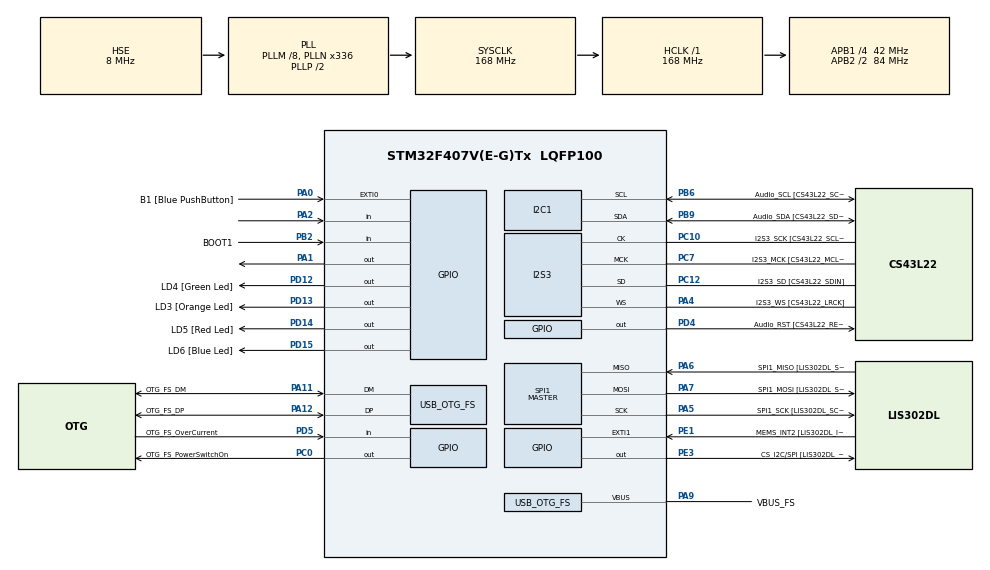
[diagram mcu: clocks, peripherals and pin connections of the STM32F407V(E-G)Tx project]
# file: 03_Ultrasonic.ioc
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I2S3.AudioFreq-Half_Duplex_Master=I2S_AUDIOFREQ_96K
I2S3.ErrorAudioFreq=-2.34 %
I2S3.ErrorAudioFreq-Half_Duplex_Master=0.8 %
I2S3.FullDuplexMode=I2S_FULLDUPLEXMODE_DISABLE
I2S3.Instance=SPI$Index
I2S3.RealAudioFreq=93.75 KHz
I2S3.RealAudioFreq-Half_Duplex_Master=96.774 KHz
I2S3.VirtualMode=I2S_MODE_MASTER
Mcu.Family=STM32F4
Mcu.Name=STM32F407V(E-G)Tx
Mcu.Package=LQFP100
NVIC.OTG_FS_IRQn=true\:0\:0\:false\:false\:true\:true\:true\:true
NVIC.PriorityGroup=NVIC_PRIORITYGROUP_0
PA0-WKUP.GPIO_Label=B1 [Blue PushButton]
PA0-WKUP.GPIO_ModeDefaultEXTI=GPIO_MODE_EVT_RISING
PA0-WKUP.GPIO_PuPd=GPIO_NOPULL
PA0-WKUP.Signal=GPXTI0
PA1.Signal=GPIO_Output
PA10.GPIO_Label=OTG_FS_ID
PA10.GPIO_Mode=GPIO_MODE_AF_PP
PA10.GPIO_PuPd=GPIO_NOPULL
PA10.GPIO_Speed=GPIO_SPEED_FREQ_LOW
PA10.Signal=USB_OTG_FS_ID
PA11.GPIO_Label=OTG_FS_DM
PA11.GPIO_Mode=GPIO_MODE_AF_PP
PA11.GPIO_PuPd=GPIO_NOPULL
PA11.GPIO_Speed=GPIO_SPEED_FREQ_LOW
PA11.Mode=Host_Only
PA11.Signal=USB_OTG_FS_DM
PA12.GPIO_Label=OTG_FS_DP
PA12.GPIO_Mode=GPIO_MODE_AF_PP
PA12.GPIO_PuPd=GPIO_NOPULL
PA12.GPIO_Speed=GPIO_SPEED_FREQ_LOW
PA12.Mode=Host_Only
PA12.Signal=USB_OTG_FS_DP
PA13.GPIO_Label=SWDIO
PA13.Mode=Serial_Wire
PA13.Signal=SYS_JTMS-SWDIO
PA14.GPIO_Label=SWCLK
PA14.Mode=Serial_Wire
PA14.Signal=SYS_JTCK-SWCLK
PA2.Signal=GPIO_Input
PA4.GPIO_Label=I2S3_WS [CS43L22_LRCK]
PA4.GPIO_Mode=GPIO_MODE_AF_PP
PA4.GPIO_PuPd=GPIO_NOPULL
PA4.GPIO_Speed=GPIO_SPEED_FREQ_LOW
PA4.Mode=Half_Duplex_Master
PA4.Signal=I2S3_WS
PA5.GPIO_Label=SPI1_SCK [LIS302DL_SCL/SPC]
PA5.GPIO_Mode=GPIO_MODE_AF_PP
PA5.GPIO_PuPd=GPIO_NOPULL
PA5.GPIO_Speed=GPIO_SPEED_FREQ_LOW
PA5.Mode=Full_Duplex_Master
PA5.Signal=SPI1_SCK
PA6.GPIO_Label=SPI1_MISO [LIS302DL_SDO]
PA6.GPIO_Mode=GPIO_MODE_AF_PP
PA6.GPIO_PuPd=GPIO_NOPULL
PA6.GPIO_Speed=GPIO_SPEED_FREQ_LOW
PA6.Mode=Full_Duplex_Master
PA6.Signal=SPI1_MISO
PA7.GPIO_Label=SPI1_MOSI [LIS302DL_SDA/SDI/SDO]
PA7.GPIO_Mode=GPIO_MODE_AF_PP
PA7.GPIO_PuPd=GPIO_NOPULL
PA7.GPIO_Speed=GPIO_SPEED_FREQ_LOW
PA7.Mode=Full_Duplex_Master
PA7.Signal=SPI1_MOSI
PA9.GPIO_Label=VBUS_FS
PA9.GPIO_Mode=GPIO_MODE_INPUT
PA9.GPIO_PuPd=GPIO_NOPULL
PA9.Mode=Activate_VBUS
PA9.Signal=USB_OTG_FS_VBUS
PB10.GPIO_Label=CLK_IN [MP45DT02_CLK]
PB10.GPIO_Mode=GPIO_MODE_AF_PP
PB10.GPIO_PuPd=GPIO_NOPULL
PB10.GPIO_Speed=GPIO_SPEED_FREQ_LOW
PB10.Signal=I2S2_CK
PB2.GPIO_Label=BOOT1
PB2.GPIO_Mode=GPIO_MODE_INPUT
PB2.GPIO_PuPd=GPIO_NOPULL
PB2.Signal=GPIO_Input
PB3.GPIO_Label=SWO
PB3.Signal=SYS_JTDO-SWO
PB6.GPIO_Label=Audio_SCL [CS43L22_SCL]
PB6.GPIO_Mode=GPIO_MODE_AF_OD
PB6.GPIO_Pu=GPIO_PULLUP
PB6.GPIO_PuPd=GPIO_NOPULL
PB6.GPIO_Speed=GPIO_SPEED_FREQ_LOW
PB6.Mode=I2C
PB6.Signal=I2C1_SCL
PB9.GPIO_Label=Audio_SDA [CS43L22_SDA]
PB9.GPIO_Mode=GPIO_MODE_AF_OD
PB9.GPIO_Pu=GPIO_PULLUP
PB9.GPIO_PuPd=GPIO_NOPULL
PB9.GPIO_Speed=GPIO_SPEED_FREQ_LOW
PB9.Mode=I2C
PB9.Signal=I2C1_SDA
PC0.GPIO_Label=OTG_FS_PowerSwitchOn
PC0.GPIO_PuPd=GPIO_NOPULL
PC0.GPIO_Speed=GPIO_SPEED_FREQ_LOW
PC0.PinState=GPIO_PIN_SET
PC0.Signal=GPIO_Output
PC10.GPIO_Label=I2S3_SCK [CS43L22_SCLK]
PC10.GPIO_Mode=GPIO_MODE_AF_PP
PC10.GPIO_PuPd=GPIO_NOPULL
PC10.GPIO_Speed=GPIO_SPEED_FREQ_LOW
PC10.Mode=Half_Duplex_Master
PC10.Signal=I2S3_CK
PC12.GPIO_Label=I2S3_SD [CS43L22_SDIN]
PC12.GPIO_Mode=GPIO_MODE_AF_PP
PC12.GPIO_PuPd=GPIO_NOPULL
PC12.GPIO_Speed=GPIO_SPEED_FREQ_LOW
PC12.Mode=Half_Duplex_Master
PC12.Signal=I2S3_SD
PC14-OSC32_IN.GPIO_Label=PC14-OSC32_IN
PC14-OSC32_IN.Mode=LSE-External-Oscillator
PC14-OSC32_IN.Signal=RCC_OSC32_IN
PC15-OSC32_OUT.GPIO_Label=PC15-OSC32_OUT
PC15-OSC32_OUT.Mode=LSE-External-Oscillator
PC15-OSC32_OUT.Signal=RCC_OSC32_OUT
PC3.GPIO_Label=PDM_OUT [MP45DT02_DOUT]
PC3.GPIO_Mode=GPIO_MODE_AF_PP
PC3.GPIO_PuPd=GPIO_NOPULL
PC3.GPIO_Speed=GPIO_SPEED_FREQ_LOW
PC3.Signal=I2S2_SD
PC7.GPIO_Label=I2S3_MCK [CS43L22_MCLK]
PC7.GPIO_Mode=GPIO_MODE_AF_PP
PC7.GPIO_PuPd=GPIO_NOPULL
PC7.GPIO_Speed=GPIO_SPEED_FREQ_LOW
PC7.Mode=Master_Clock_Activated
PC7.Signal=I2S3_MCK
PD12.GPIO_Label=LD4 [Green Led]
PD12.GPIO_PuPd=GPIO_NOPULL
PD12.GPIO_Speed=GPIO_SPEED_FREQ_LOW
PD12.Signal=GPIO_Output
PD13.GPIO_Label=LD3 [Orange Led]
PD13.GPIO_PuPd=GPIO_NOPULL
PD13.GPIO_Speed=GPIO_SPEED_FREQ_LOW
PD13.Signal=GPIO_Output
PD14.GPIO_Label=LD5 [Red Led]
PD14.GPIO_PuPd=GPIO_NOPULL
PD14.GPIO_Speed=GPIO_SPEED_FREQ_LOW
PD14.Signal=GPIO_Output
PD15.GPIO_Label=LD6 [Blue Led]
PD15.GPIO_PuPd=GPIO_NOPULL
PD15.GPIO_Speed=GPIO_SPEED_FREQ_LOW
PD15.Signal=GPIO_Output
PD4.GPIO_Label=Audio_RST [CS43L22_RESET]
PD4.GPIO_PuPd=GPIO_NOPULL
PD4.GPIO_Speed=GPIO_SPEED_FREQ_LOW
PD4.Signal=GPIO_Output
PD5.GPIO_Label=OTG_FS_OverCurrent
PD5.GPIO_Mode=GPIO_MODE_INPUT
PD5.GPIO_PuPd=GPIO_NOPULL
PD5.Signal=GPIO_Input
PE1.GPIO_Label=MEMS_INT2 [LIS302DL_INT2]
PE1.GPIO_ModeDefaultEXTI=GPIO_MODE_EVT_RISING
PE1.GPIO_PuPd=GPIO_NOPULL
PE1.Signal=GPXTI1
PE3.GPIO_Label=CS_I2C/SPI [LIS302DL_CS_I2C/SPI]
PE3.GPIO_PuPd=GPIO_NOPULL
PE3.GPIO_Speed=GPIO_SPEED_FREQ_LOW
PE3.Signal=GPIO_Output
PH0-OSC_IN.GPIO_Label=PH0-OSC_IN
PH0-OSC_IN.Mode=HSE-External-Oscillator
PH0-OSC_IN.Signal=RCC_OSC_IN
PH1-OSC_OUT.GPIO_Label=PH1-OSC_OUT
PH1-OSC_OUT.Mode=HSE-External-Oscillator
PH1-OSC_OUT.Signal=RCC_OSC_OUT
ProjectManager.HeapSize=0x200
ProjectManager.StackSize=0x400
ProjectManager.TargetToolchain=STM32CubeIDE
RCC.48MHZClocksFreq_Value=48000000
RCC.AHBFreq_Value=168000000
RCC.APB1CLKDivider=RCC_HCLK_DIV4
RCC.APB1Freq_Value=42000000
RCC.APB1TimFreq_Value=84000000
RCC.APB2CLKDivider=RCC_HCLK_DIV2
RCC.APB2Freq_Value=84000000
RCC.APB2TimFreq_Value=168000000
RCC.CortexFreq_Value=168000000
RCC.HCLKFreq_Value=168000000
RCC.HSE_VALUE=8000000
RCC.HSI_VALUE=16000000
RCC.PLLM=8
RCC.PLLN=336
RCC.PLLQ=7
RCC.SYSCLKFreq_VALUE=168000000
RCC.SYSCLKSource=RCC_SYSCLKSOURCE_PLLCLK
RCC.VCOOutputFreq_Value=336000000
SPI1.BaudRatePrescaler-Full_Duplex_Master=SPI_BAUDRATEPRESCALER_2
SPI1.CalculateBaudRate-Full_Duplex_Master=42.0 MBits/s
SPI1.Direction=SPI_DIRECTION_2LINES
SPI1.Mode=SPI_MODE_MASTER
SPI1.Mode-Full_Duplex_Master=SPI_MODE_MASTER
SPI1.VirtualType=VM_MASTER
TIM2.Prescaler=83
USB_HOST.BSP.number=1
USB_HOST.USBH_HandleTypeDef-CDC_FS=hUsbHostFS
USB_HOST.VirtualModeFS=Cdc
USB_HOST0.BSP.STBoard=false
USB_HOST0.BSP.api=Unknown
USB_HOST0.BSP.instance=PC0
USB_HOST0.BSP.ip=GPIO
USB_HOST0.BSP.mode=Output
USB_HOST0.BSP.name=Drive_VBUS_FS
USB_HOST0.BSP.solution=PC0
USB_OTG_FS.VirtualMode=Host_Only
USB_OTG_FS.phy_itface=HCD_PHY_EMBEDDED
VP_TIM2_VS_ClockSourceINT.Mode=Internal
VP_USB_HOST_VS_USB_HOST_CDC_FS.Mode=CDC_FS
board=STM32F407G-DISC1

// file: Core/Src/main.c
/* USER CODE BEGIN Header */
/**
  ******************************************************************************
  * @file           : main.c
  * @brief          : Main program body
  ******************************************************************************
  * @attention
  *
  * Copyright (c) 2026 STMicroelectronics.
  * All rights reserved.
  *
  * This software is licensed under terms that can be found in the LICENSE file
  * in the root directory of this software component.
  * If no LICENSE file comes with this software, it is provided AS-IS.
  *
  ******************************************************************************
  */
/* USER CODE END Header */
#include "main.h"
#include "usb_host.h"

I2C_HandleTypeDef hi2c1;

I2S_HandleTypeDef hi2s3;

SPI_HandleTypeDef hspi1;

TIM_HandleTypeDef htim2;

/* USER CODE BEGIN PV */
uint32_t distance = 0;
uint32_t time = 0;
/* USER CODE END PV */

void SystemClock_Config(void);
static void MX_GPIO_Init(void);
static void MX_I2C1_Init(void);
static void MX_I2S3_Init(void);
static void MX_SPI1_Init(void);
static void MX_TIM2_Init(void);
void MX_USB_HOST_Process(void);

/* USER CODE BEGIN 0 */
void delay_us(uint16_t us)
{
    __HAL_TIM_SET_COUNTER(&htim2, 0);

    while (__HAL_TIM_GET_COUNTER(&htim2) < us);
}
/* USER CODE END 0 */

int main(void)
{

  /* MCU Configuration--------------------------------------------------------*/

  /* Reset of all peripherals, Initializes the Flash interface and the Systick. */
  HAL_Init();

  /* Configure the system clock */
  SystemClock_Config();

  /* Initialize all configured peripherals */
  MX_GPIO_Init();
  MX_I2C1_Init();
  MX_I2S3_Init();
  MX_SPI1_Init();
  MX_USB_HOST_Init();
  MX_TIM2_Init();
  /* USER CODE BEGIN 2 */
  HAL_TIM_Base_Start(&htim2);
  /* USER CODE END 2 */

  /* Infinite loop */
  /* USER CODE BEGIN WHILE */
  while (1)
  {
	      uint32_t start = 0;
	      uint32_t stop = 0;

	      HAL_GPIO_WritePin(GPIOA, GPIO_PIN_1, GPIO_PIN_RESET);
	      delay_us(2);

	      HAL_GPIO_WritePin(GPIOA, GPIO_PIN_1, GPIO_PIN_SET);
	      delay_us(10);

	      HAL_GPIO_WritePin(GPIOA, GPIO_PIN_1, GPIO_PIN_RESET);

	      while (!(HAL_GPIO_ReadPin(GPIOA, GPIO_PIN_2)));

	      start = __HAL_TIM_GET_COUNTER(&htim2);

	      while (HAL_GPIO_ReadPin(GPIOA, GPIO_PIN_2));

	      stop = __HAL_TIM_GET_COUNTER(&htim2);

	      time = stop - start;

	      distance = time * 0.034 / 2;

	      HAL_Delay(200);
    /* USER CODE END WHILE */
    MX_USB_HOST_Process();

  }
}

void SystemClock_Config(void)
{
  RCC_OscInitTypeDef RCC_OscInitStruct = {0};
  RCC_ClkInitTypeDef RCC_ClkInitStruct = {0};

  /** Configure the main internal regulator output voltage
  */
  __HAL_RCC_PWR_CLK_ENABLE();
  __HAL_PWR_VOLTAGESCALING_CONFIG(PWR_REGULATOR_VOLTAGE_SCALE1);

  /** Initializes the RCC Oscillators according to the specified parameters
  * in the RCC_OscInitTypeDef structure.
  */
  RCC_OscInitStruct.OscillatorType = RCC_OSCILLATORTYPE_HSE;
  RCC_OscInitStruct.HSEState = RCC_HSE_ON;
  RCC_OscInitStruct.PLL.PLLState = RCC_PLL_ON;
  RCC_OscInitStruct.PLL.PLLSource = RCC_PLLSOURCE_HSE;
  RCC_OscInitStruct.PLL.PLLM = 8;
  RCC_OscInitStruct.PLL.PLLN = 336;
  RCC_OscInitStruct.PLL.PLLP = RCC_PLLP_DIV2;
  RCC_OscInitStruct.PLL.PLLQ = 7;
  if (HAL_RCC_OscConfig(&RCC_OscInitStruct) != HAL_OK)
  {
    Error_Handler();
  }

  /** Initializes the CPU, AHB and APB buses clocks
  */
  RCC_ClkInitStruct.ClockType = RCC_CLOCKTYPE_HCLK|RCC_CLOCKTYPE_SYSCLK
                              |RCC_CLOCKTYPE_PCLK1|RCC_CLOCKTYPE_PCLK2;
  RCC_ClkInitStruct.SYSCLKSource = RCC_SYSCLKSOURCE_PLLCLK;
  RCC_ClkInitStruct.AHBCLKDivider = RCC_SYSCLK_DIV1;
  RCC_ClkInitStruct.APB1CLKDivider = RCC_HCLK_DIV4;
  RCC_ClkInitStruct.APB2CLKDivider = RCC_HCLK_DIV2;

  if (HAL_RCC_ClockConfig(&RCC_ClkInitStruct, FLASH_LATENCY_5) != HAL_OK)
  {
    Error_Handler();
  }
}

static void MX_I2C1_Init(void)
{

  hi2c1.Instance = I2C1;
  hi2c1.Init.ClockSpeed = 100000;
  hi2c1.Init.DutyCycle = I2C_DUTYCYCLE_2;
  hi2c1.Init.OwnAddress1 = 0;
  hi2c1.Init.AddressingMode = I2C_ADDRESSINGMODE_7BIT;
  hi2c1.Init.DualAddressMode = I2C_DUALADDRESS_DISABLE;
  hi2c1.Init.OwnAddress2 = 0;
  hi2c1.Init.GeneralCallMode = I2C_GENERALCALL_DISABLE;
  hi2c1.Init.NoStretchMode = I2C_NOSTRETCH_DISABLE;
  if (HAL_I2C_Init(&hi2c1) != HAL_OK)
  {
    Error_Handler();
  }

}

static void MX_I2S3_Init(void)
{

  hi2s3.Instance = SPI3;
  hi2s3.Init.Mode = I2S_MODE_MASTER_TX;
  hi2s3.Init.Standard = I2S_STANDARD_PHILIPS;
  hi2s3.Init.DataFormat = I2S_DATAFORMAT_16B;
  hi2s3.Init.MCLKOutput = I2S_MCLKOUTPUT_ENABLE;
  hi2s3.Init.AudioFreq = I2S_AUDIOFREQ_96K;
  hi2s3.Init.CPOL = I2S_CPOL_LOW;
  hi2s3.Init.ClockSource = I2S_CLOCK_PLL;
  hi2s3.Init.FullDuplexMode = I2S_FULLDUPLEXMODE_DISABLE;
  if (HAL_I2S_Init(&hi2s3) != HAL_OK)
  {
    Error_Handler();
  }

}

static void MX_SPI1_Init(void)
{

  /* SPI1 parameter configuration*/
  hspi1.Instance = SPI1;
  hspi1.Init.Mode = SPI_MODE_MASTER;
  hspi1.Init.Direction = SPI_DIRECTION_2LINES;
  hspi1.Init.DataSize = SPI_DATASIZE_8BIT;
  hspi1.Init.CLKPolarity = SPI_POLARITY_LOW;
  hspi1.Init.CLKPhase = SPI_PHASE_1EDGE;
  hspi1.Init.NSS = SPI_NSS_SOFT;
  hspi1.Init.BaudRatePrescaler = SPI_BAUDRATEPRESCALER_2;
  hspi1.Init.FirstBit = SPI_FIRSTBIT_MSB;
  hspi1.Init.TIMode = SPI_TIMODE_DISABLE;
  hspi1.Init.CRCCalculation = SPI_CRCCALCULATION_DISABLE;
  hspi1.Init.CRCPolynomial = 10;
  if (HAL_SPI_Init(&hspi1) != HAL_OK)
  {
    Error_Handler();
  }

}

static void MX_TIM2_Init(void)
{

  TIM_ClockConfigTypeDef sClockSourceConfig = {0};
  TIM_MasterConfigTypeDef sMasterConfig = {0};

  htim2.Instance = TIM2;
  htim2.Init.Prescaler = 83;
  htim2.Init.CounterMode = TIM_COUNTERMODE_UP;
  htim2.Init.Period = 4294967295;
  htim2.Init.ClockDivision = TIM_CLOCKDIVISION_DIV1;
  htim2.Init.AutoReloadPreload = TIM_AUTORELOAD_PRELOAD_DISABLE;
  if (HAL_TIM_Base_Init(&htim2) != HAL_OK)
  {
    Error_Handler();
  }
  sClockSourceConfig.ClockSource = TIM_CLOCKSOURCE_INTERNAL;
  if (HAL_TIM_ConfigClockSource(&htim2, &sClockSourceConfig) != HAL_OK)
  {
    Error_Handler();
  }
  sMasterConfig.MasterOutputTrigger = TIM_TRGO_RESET;
  sMasterConfig.MasterSlaveMode = TIM_MASTERSLAVEMODE_DISABLE;
  if (HAL_TIMEx_MasterConfigSynchronization(&htim2, &sMasterConfig) != HAL_OK)
  {
    Error_Handler();
  }

}

static void MX_GPIO_Init(void)
{
  GPIO_InitTypeDef GPIO_InitStruct = {0};

  /* GPIO Ports Clock Enable */
  __HAL_RCC_GPIOE_CLK_ENABLE();
  __HAL_RCC_GPIOC_CLK_ENABLE();
  __HAL_RCC_GPIOH_CLK_ENABLE();
  __HAL_RCC_GPIOA_CLK_ENABLE();
  __HAL_RCC_GPIOB_CLK_ENABLE();
  __HAL_RCC_GPIOD_CLK_ENABLE();

  /*Configure GPIO pin Output Level */
  HAL_GPIO_WritePin(CS_I2C_SPI_GPIO_Port, CS_I2C_SPI_Pin, GPIO_PIN_RESET);

  /*Configure GPIO pin Output Level */
  HAL_GPIO_WritePin(OTG_FS_PowerSwitchOn_GPIO_Port, OTG_FS_PowerSwitchOn_Pin, GPIO_PIN_SET);

  /*Configure GPIO pin Output Level */
  HAL_GPIO_WritePin(GPIOA, GPIO_PIN_1, GPIO_PIN_RESET);

  /*Configure GPIO pin Output Level */
  HAL_GPIO_WritePin(GPIOD, LD4_Pin|LD3_Pin|LD5_Pin|LD6_Pin
                          |Audio_RST_Pin, GPIO_PIN_RESET);

  /*Configure GPIO pin : CS_I2C_SPI_Pin */
  GPIO_InitStruct.Pin = CS_I2C_SPI_Pin;
  GPIO_InitStruct.Mode = GPIO_MODE_OUTPUT_PP;
  GPIO_InitStruct.Pull = GPIO_NOPULL;
  GPIO_InitStruct.Speed = GPIO_SPEED_FREQ_LOW;
  HAL_GPIO_Init(CS_I2C_SPI_GPIO_Port, &GPIO_InitStruct);

  /*Configure GPIO pin : OTG_FS_PowerSwitchOn_Pin */
  GPIO_InitStruct.Pin = OTG_FS_PowerSwitchOn_Pin;
  GPIO_InitStruct.Mode = GPIO_MODE_OUTPUT_PP;
  GPIO_InitStruct.Pull = GPIO_NOPULL;
  GPIO_InitStruct.Speed = GPIO_SPEED_FREQ_LOW;
  HAL_GPIO_Init(OTG_FS_PowerSwitchOn_GPIO_Port, &GPIO_InitStruct);

  /*Configure GPIO pin : PDM_OUT_Pin */
  GPIO_InitStruct.Pin = PDM_OUT_Pin;
  GPIO_InitStruct.Mode = GPIO_MODE_AF_PP;
  GPIO_InitStruct.Pull = GPIO_NOPULL;
  GPIO_InitStruct.Speed = GPIO_SPEED_FREQ_LOW;
  GPIO_InitStruct.Alternate = GPIO_AF5_SPI2;
  HAL_GPIO_Init(PDM_OUT_GPIO_Port, &GPIO_InitStruct);

  /*Configure GPIO pin : B1_Pin */
  GPIO_InitStruct.Pin = B1_Pin;
  GPIO_InitStruct.Mode = GPIO_MODE_EVT_RISING;
  GPIO_InitStruct.Pull = GPIO_NOPULL;
  HAL_GPIO_Init(B1_GPIO_Port, &GPIO_InitStruct);

  /*Configure GPIO pin : PA1 */
  GPIO_InitStruct.Pin = GPIO_PIN_1;
  GPIO_InitStruct.Mode = GPIO_MODE_OUTPUT_PP;
  GPIO_InitStruct.Pull = GPIO_NOPULL;
  GPIO_InitStruct.Speed = GPIO_SPEED_FREQ_LOW;
  HAL_GPIO_Init(GPIOA, &GPIO_InitStruct);

  /*Configure GPIO pin : PA2 */
  GPIO_InitStruct.Pin = GPIO_PIN_2;
  GPIO_InitStruct.Mode = GPIO_MODE_INPUT;
  GPIO_InitStruct.Pull = GPIO_NOPULL;
  HAL_GPIO_Init(GPIOA, &GPIO_InitStruct);

  /*Configure GPIO pin : BOOT1_Pin */
  GPIO_InitStruct.Pin = BOOT1_Pin;
  GPIO_InitStruct.Mode = GPIO_MODE_INPUT;
  GPIO_InitStruct.Pull = GPIO_NOPULL;
  HAL_GPIO_Init(BOOT1_GPIO_Port, &GPIO_InitStruct);

  /*Configure GPIO pin : CLK_IN_Pin */
  GPIO_InitStruct.Pin = CLK_IN_Pin;
  GPIO_InitStruct.Mode = GPIO_MODE_AF_PP;
  GPIO_InitStruct.Pull = GPIO_NOPULL;
  GPIO_InitStruct.Speed = GPIO_SPEED_FREQ_LOW;
  GPIO_InitStruct.Alternate = GPIO_AF5_SPI2;
  HAL_GPIO_Init(CLK_IN_GPIO_Port, &GPIO_InitStruct);

  /*Configure GPIO pins : LD4_Pin LD3_Pin LD5_Pin LD6_Pin
                           Audio_RST_Pin */
  GPIO_InitStruct.Pin = LD4_Pin|LD3_Pin|LD5_Pin|LD6_Pin
                          |Audio_RST_Pin;
  GPIO_InitStruct.Mode = GPIO_MODE_OUTPUT_PP;
  GPIO_InitStruct.Pull = GPIO_NOPULL;
  GPIO_InitStruct.Speed = GPIO_SPEED_FREQ_LOW;
  HAL_GPIO_Init(GPIOD, &GPIO_InitStruct);

  /*Configure GPIO pin : OTG_FS_OverCurrent_Pin */
  GPIO_InitStruct.Pin = OTG_FS_OverCurrent_Pin;
  GPIO_InitStruct.Mode = GPIO_MODE_INPUT;
  GPIO_InitStruct.Pull = GPIO_NOPULL;
  HAL_GPIO_Init(OTG_FS_OverCurrent_GPIO_Port, &GPIO_InitStruct);

  /*Configure GPIO pin : MEMS_INT2_Pin */
  GPIO_InitStruct.Pin = MEMS_INT2_Pin;
  GPIO_InitStruct.Mode = GPIO_MODE_EVT_RISING;
  GPIO_InitStruct.Pull = GPIO_NOPULL;
  HAL_GPIO_Init(MEMS_INT2_GPIO_Port, &GPIO_InitStruct);

}

void Error_Handler(void)
{
  __disable_irq();
  while (1)
  {
  }
}
